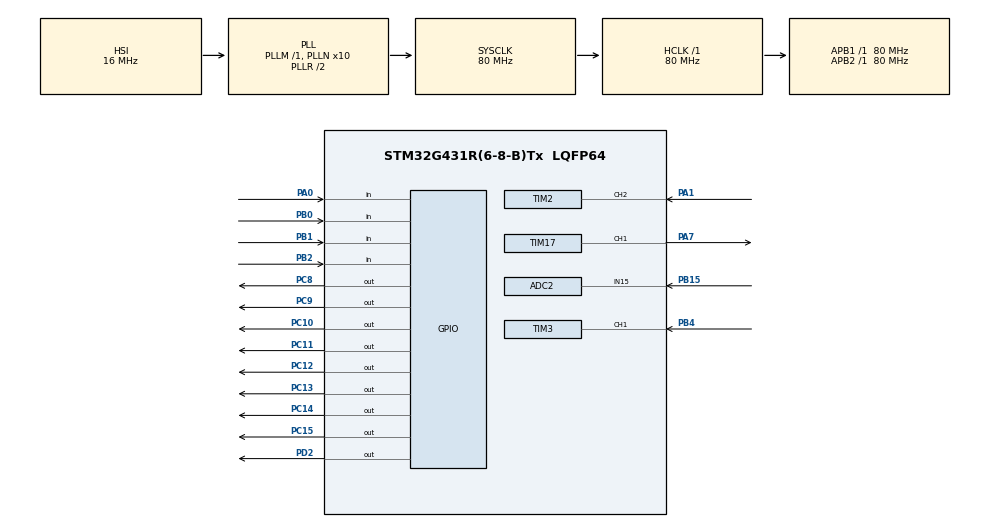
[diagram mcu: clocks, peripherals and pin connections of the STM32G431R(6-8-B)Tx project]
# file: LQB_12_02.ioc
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ADC2.Channel-0\#ChannelRegularConversion=ADC_CHANNEL_15
ADC2.NbrOfConversionFlag=1
ADC2.OffsetNumber-0\#ChannelRegularConversion=ADC_OFFSET_NONE
ADC2.Rank-0\#ChannelRegularConversion=1
ADC2.SamplingTime-0\#ChannelRegularConversion=ADC_SAMPLETIME_2CYCLES_5
Mcu.Family=STM32G4
Mcu.Name=STM32G431R(6-8-B)Tx
Mcu.Package=LQFP64
NVIC.PriorityGroup=NVIC_PRIORITYGROUP_4
NVIC.TIM2_IRQn=true\:3\:0\:true\:false\:true\:true\:true
NVIC.TIM3_IRQn=true\:3\:0\:true\:false\:true\:true\:true
PA0.Signal=GPIO_Input
PA1.Signal=S_TIM2_CH2
PA7.Signal=S_TIM17_CH1
PB0.Signal=GPIO_Input
PB1.Signal=GPIO_Input
PB15.Mode=IN15-Single-Ended
PB15.Signal=ADC2_IN15
PB2.Signal=GPIO_Input
PB4.Signal=S_TIM3_CH1
PC10.Signal=GPIO_Output
PC11.Signal=GPIO_Output
PC12.Signal=GPIO_Output
PC13.Signal=GPIO_Output
PC14-OSC32_IN.Signal=GPIO_Output
PC15-OSC32_OUT.Signal=GPIO_Output
PC8.Signal=GPIO_Output
PC9.Signal=GPIO_Output
PD2.Signal=GPIO_Output
ProjectManager.HeapSize=0x200
ProjectManager.StackSize=0x400
ProjectManager.TargetToolchain=MDK-ARM V5.32
RCC.ADC12Freq_Value=80000000
RCC.AHBFreq_Value=80000000
RCC.APB1Freq_Value=80000000
RCC.APB1TimFreq_Value=80000000
RCC.APB2Freq_Value=80000000
RCC.APB2TimFreq_Value=80000000
RCC.CortexFreq_Value=80000000
RCC.EXTERNAL_CLOCK_VALUE=12288000
RCC.HCLKFreq_Value=80000000
RCC.HSE_VALUE=8000000
RCC.HSI48_VALUE=48000000
RCC.HSI_VALUE=16000000
RCC.LSE_VALUE=32768
RCC.PLLN=10
RCC.SYSCLKFreq_VALUE=80000000
RCC.SYSCLKSource=RCC_SYSCLKSOURCE_PLLCLK
RCC.USBFreq_Value=80000000
RCC.VCOOutputFreq_Value=160000000
SH.S_TIM17_CH1.0=TIM17_CH1,PWM Generation1 CH1
SH.S_TIM2_CH2.0=TIM2_CH2,Input_Capture2_from_TI2
SH.S_TIM2_CH2.1=TIM2_CH2,TriggerSource_TI2FP2
SH.S_TIM3_CH1.0=TIM3_CH1,Input_Capture1_from_TI1
SH.S_TIM3_CH1.1=TIM3_CH1,TriggerSource_TI1FP1
TIM17.Channel=TIM_CHANNEL_1
TIM17.PeriodNoDither=1000
TIM17.Prescaler=79
TIM2.Channel-Input_Capture2_from_TI2=TIM_CHANNEL_2
TIM2.PeriodNoDither=65535
TIM2.Prescaler=79
TIM3.Channel-Input_Capture1_from_TI1=TIM_CHANNEL_1
TIM3.Channel-Input_Capture2_from_TI1_63=TIM_CHANNEL_2
TIM3.Prescaler=79
VP_SYS_VS_DBSignals.Mode=DisableDeadBatterySignals
VP_TIM17_VS_ClockSourceINT.Mode=Enable_Timer
VP_TIM2_VS_ClockSourceINT.Mode=Internal
VP_TIM2_VS_ControllerModeReset.Mode=Reset Mode
VP_TIM3_VS_ClockSourceINT.Mode=Internal
VP_TIM3_VS_ControllerModeReset.Mode=Reset Mode
VP_TIM3_VS_indirect_ch1.Mode=Input_Capture2_from_TI1_63
board=custom

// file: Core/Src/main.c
/* USER CODE BEGIN Header */
/**
  ******************************************************************************
  * @file           : main.c
  * @brief          : Main program body
  ******************************************************************************
  * @attention
  *
  * Copyright (c) 2022 STMicroelectronics.
  * All rights reserved.
  *
  * This software is licensed under terms that can be found in the LICENSE file
  * in the root directory of this software component.
  * If no LICENSE file comes with this software, it is provided AS-IS.
  *
  ******************************************************************************
  */
/* USER CODE END Header */
#include "main.h"
#include "adc.h"
#include "tim.h"
#include "gpio.h"

/* USER CODE BEGIN Includes */
#include "lcd.h"
#include "stdio.h"
/* USER CODE END Includes */

/* USER CODE BEGIN PV */
__IO uint32_t uwTick_Lcd_Set_Point;
__IO uint32_t uwTick_ADC_Set_Point;
__IO uint32_t uwTick_Key_Set_Point;
__IO uint32_t uwTick_Led_Set_Point;

uint16_t FRQ;
double Auto_Num;
double ADC_Value;
unsigned char pucStr_Disp[21];
unsigned char ucKey_Val, ucKey_Down, ucKey_Old;
unsigned char ucState = 0, ucLed_Flag = 1;
unsigned char ucR = 4;
unsigned char ucLed = 1;
uint16_t PWM1_T_Count;
uint16_t PWM1_D_Count;
double duty;
/* USER CODE END PV */

void SystemClock_Config(void);
/* USER CODE BEGIN PFP */
void Lcd_Proc(void);
void ADC_Proc(void);
void Key_Proc(void);
void Led_Proc(void);
/* USER CODE END PFP */

int main(void)
{

  /* MCU Configuration--------------------------------------------------------*/

  /* Reset of all peripherals, Initializes the Flash interface and the Systick. */
  HAL_Init();

  /* Configure the system clock */
  SystemClock_Config();

  /* Initialize all configured peripherals */
  MX_GPIO_Init();
  MX_ADC2_Init();
  MX_TIM2_Init();
  MX_TIM3_Init();
  MX_TIM17_Init();
  /* USER CODE BEGIN 2 */
	LCD_Init();
	LCD_Clear(Black);
	LCD_SetBackColor(Black);
	LCD_SetTextColor(White);

	HAL_TIM_PWM_Start(&htim17, TIM_CHANNEL_1);
	HAL_TIM_IC_Start_IT(&htim2, TIM_CHANNEL_2);
  /* USER CODE END 2 */

  /* Infinite loop */
  while (1)
  {

    /* USER CODE BEGIN 3 */
		Lcd_Proc();
		ADC_Proc();
		Key_Proc();
		Led_Proc();
  }
  /* USER CODE END 3 */
}

void SystemClock_Config(void)
{
  RCC_OscInitTypeDef RCC_OscInitStruct = {0};
  RCC_ClkInitTypeDef RCC_ClkInitStruct = {0};

  /** Configure the main internal regulator output voltage
  */
  HAL_PWREx_ControlVoltageScaling(PWR_REGULATOR_VOLTAGE_SCALE1);
  /** Initializes the RCC Oscillators according to the specified parameters
  * in the RCC_OscInitTypeDef structure.
  */
  RCC_OscInitStruct.OscillatorType = RCC_OSCILLATORTYPE_HSI;
  RCC_OscInitStruct.HSIState = RCC_HSI_ON;
  RCC_OscInitStruct.HSICalibrationValue = RCC_HSICALIBRATION_DEFAULT;
  RCC_OscInitStruct.PLL.PLLState = RCC_PLL_ON;
  RCC_OscInitStruct.PLL.PLLSource = RCC_PLLSOURCE_HSI;
  RCC_OscInitStruct.PLL.PLLM = RCC_PLLM_DIV1;
  RCC_OscInitStruct.PLL.PLLN = 10;
  RCC_OscInitStruct.PLL.PLLP = RCC_PLLP_DIV2;
  RCC_OscInitStruct.PLL.PLLQ = RCC_PLLQ_DIV2;
  RCC_OscInitStruct.PLL.PLLR = RCC_PLLR_DIV2;
  if (HAL_RCC_OscConfig(&RCC_OscInitStruct) != HAL_OK)
  {
    Error_Handler();
  }
  /** Initializes the CPU, AHB and APB buses clocks
  */
  RCC_ClkInitStruct.ClockType = RCC_CLOCKTYPE_HCLK|RCC_CLOCKTYPE_SYSCLK
                              |RCC_CLOCKTYPE_PCLK1|RCC_CLOCKTYPE_PCLK2;
  RCC_ClkInitStruct.SYSCLKSource = RCC_SYSCLKSOURCE_PLLCLK;
  RCC_ClkInitStruct.AHBCLKDivider = RCC_SYSCLK_DIV1;
  RCC_ClkInitStruct.APB1CLKDivider = RCC_HCLK_DIV1;
  RCC_ClkInitStruct.APB2CLKDivider = RCC_HCLK_DIV1;

  if (HAL_RCC_ClockConfig(&RCC_ClkInitStruct, FLASH_LATENCY_2) != HAL_OK)
  {
    Error_Handler();
  }
}

/* USER CODE BEGIN 4 */
void Lcd_Proc(void)
{
	if(uwTick - uwTick_Lcd_Set_Point <= 100)
		return;

	uwTick_Lcd_Set_Point = uwTick;

	if(!ucState)
	{
		LCD_DisplayStringLine(Line1, (u8*)"       Data         ");

		sprintf((char*)pucStr_Disp, "   FRQ:%5uHz         ", FRQ);
		LCD_DisplayStringLine(Line3, (u8*)pucStr_Disp);

		sprintf((char*)pucStr_Disp, "   R37:%3.2lfV         ", ADC_Value);
		LCD_DisplayStringLine(Line5, (u8*)pucStr_Disp);
	}
	else
	{
		LCD_DisplayStringLine(Line1, (u8*)"       Para         ");

		sprintf((char*)pucStr_Disp, "      R:%2u          ", ucR);
		LCD_DisplayStringLine(Line3, (u8*)pucStr_Disp);

		LCD_DisplayStringLine(Line5, (u8*)"                    ");
	}

}

void ADC_Proc(void)
{
	if(uwTick - uwTick_ADC_Set_Point <= 100)
		return;

	uwTick_ADC_Set_Point = uwTick;

	ADC_Value = Get_ADC1() * 3.3 / 4095;

	duty = ADC_Value / 3.3 * Auto_Num;
	__HAL_TIM_SET_COMPARE(&htim17, TIM_CHANNEL_1, (unsigned int)duty);
	if(ADC_Value < 1 || ADC_Value >= 3)
		ucLed |= 0x04;
	else
		ucLed &= ~0x04;
}

void Key_Proc(void)
{
	if(uwTick - uwTick_Key_Set_Point <= 50)
		return;

	uwTick_Key_Set_Point = uwTick;

	ucKey_Val = Key_Scan();
	ucKey_Down = ucKey_Val & (ucKey_Val ^ ucKey_Old);
	ucKey_Old = ucKey_Val;

	switch(ucKey_Down)
	{
		case 1:
			if(!ucState)
			{
				ucState = 1;
				ucLed |= 0x02;
				ucLed &= ~0x01;
			}
			else
			{
				ucState = 0;
				ucLed |= 0x01;
				ucLed &= ~0x02;
			}
		break;

		case 2:
			if(ucState)
			{
				ucR += 2;
				if(ucR > 10)
					ucR = 2;
			}
		break;

		case 3:
			if(ucState)
			{
				ucR -= 2;
				if(ucR < 2)
					ucR = 10;
			}
		break;

		case 4:
			if(!ucLed_Flag)
			{
				ucLed_Flag = 1;
			}
			else
			{
				ucLed_Flag = 0;
			}
		break;
	}
}

void Led_Proc(void)
{
	if(uwTick - uwTick_Led_Set_Point <= 50)
		return;

	uwTick_Led_Set_Point = uwTick;

	if(ucLed_Flag)
	{
		Led_Disp(ucLed);
	}
	else
	{
		Led_Disp(0x00);
	}
}

void HAL_TIM_IC_CaptureCallback(TIM_HandleTypeDef *htim)
{
	if(htim->Instance == TIM2)
	{
		if(htim->Channel == HAL_TIM_ACTIVE_CHANNEL_2)
		{
			PWM1_T_Count = HAL_TIM_ReadCapturedValue(&htim2, TIM_CHANNEL_2) + 1;
			FRQ = 1000000 / PWM1_T_Count;
			Auto_Num = 1000000 / (FRQ / ucR);
			__HAL_TIM_SET_AUTORELOAD(&htim17, Auto_Num);
			if(FRQ < 1000 || FRQ > 5000)
				ucLed |= 0x08;
			else
				ucLed &= ~0x08;
		}
	}
}
/* USER CODE END 4 */

void Error_Handler(void)
{
  __disable_irq();
  while (1)
  {
  }
}
